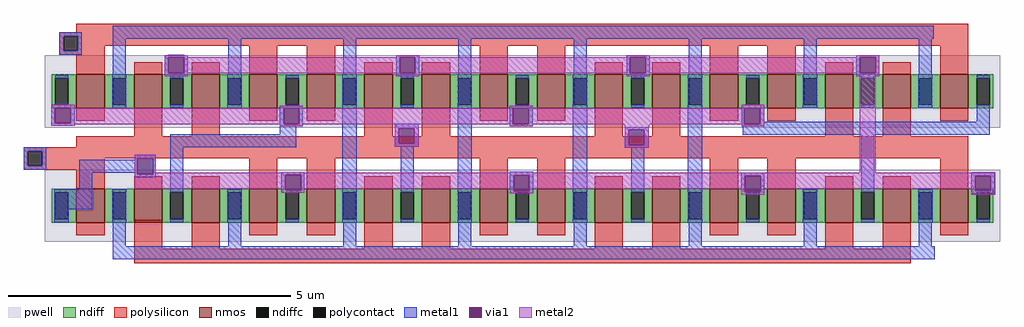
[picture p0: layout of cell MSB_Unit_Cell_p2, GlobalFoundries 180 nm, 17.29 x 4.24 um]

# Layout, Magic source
magic
tech gf180mcuC
magscale 1 10
<< pwell >>
rect 3095 69 3144 188
rect 2055 1 2142 14
rect 1647 -233 1729 -156
rect 2467 -238 2549 -161
<< ndiff >>
rect 3095 69 3144 188
<< polysilicon >>
rect 112 337 3272 367
rect 51 324 3272 337
rect 51 273 66 324
rect 117 290 3272 324
rect 117 273 212 290
rect 51 258 212 273
rect 112 188 212 258
rect 724 232 824 290
rect 928 232 1028 290
rect 1540 232 1640 290
rect 1744 232 1844 290
rect 2356 232 2456 290
rect 2560 232 2660 290
rect 3172 232 3272 290
rect 3185 205 3272 232
rect 316 26 393 68
rect 316 -31 416 24
rect 520 -31 620 24
rect 1132 -31 1232 24
rect 1336 -31 1436 24
rect 1948 -31 2048 24
rect 2152 -31 2252 24
rect 2764 -31 2864 24
rect 2968 -31 3068 24
rect 112 -70 3272 -31
rect -74 -84 3272 -70
rect -74 -135 -60 -84
rect -9 -108 3272 -84
rect -9 -135 212 -108
rect -74 -149 212 -135
rect 112 -173 212 -149
rect 724 -173 824 -108
rect 928 -173 1028 -108
rect 1540 -173 1640 -108
rect 1744 -173 1844 -108
rect 2356 -173 2456 -108
rect 2560 -173 2660 -108
rect 3172 -173 3272 -108
rect 318 -381 416 -326
rect 316 -430 416 -381
rect 520 -430 620 -381
rect 1132 -430 1232 -381
rect 1336 -430 1436 -381
rect 1948 -430 2048 -381
rect 2152 -430 2252 -381
rect 2764 -430 2864 -381
rect 2968 -430 3068 -381
rect 316 -480 3068 -430
<< polycontact >>
rect 66 273 117 324
rect -60 -135 -9 -84
<< metal1 >>
rect 51 324 130 337
rect 51 273 66 324
rect 117 273 130 324
rect 51 258 130 273
rect 241 314 3150 360
rect 241 187 287 314
rect 436 256 494 258
rect 424 249 506 256
rect 424 193 437 249
rect 493 193 506 249
rect 37 81 83 85
rect 23 71 105 81
rect 23 15 35 71
rect 91 15 105 71
rect 238 69 289 187
rect 424 181 506 193
rect 649 187 695 314
rect 1057 187 1103 314
rect 1245 249 1327 256
rect 1245 193 1257 249
rect 1313 193 1327 249
rect 646 69 697 187
rect 23 6 105 15
rect 833 68 914 78
rect 833 12 846 68
rect 902 12 914 68
rect 833 4 914 12
rect 833 -24 891 4
rect 445 -70 891 -24
rect -74 -84 5 -70
rect -74 -135 -60 -84
rect -9 -135 5 -84
rect 318 -109 392 -97
rect 318 -114 328 -109
rect -74 -149 5 -135
rect 121 -160 328 -114
rect 121 -218 167 -160
rect 318 -165 328 -160
rect 384 -165 392 -109
rect 318 -177 392 -165
rect 34 -289 167 -218
rect 34 -336 85 -289
rect 238 -336 289 -218
rect 445 -219 491 -70
rect 837 -167 919 -159
rect 646 -336 697 -218
rect 837 -223 852 -167
rect 908 -223 919 -167
rect 837 -231 919 -223
rect 1054 -336 1105 187
rect 1245 181 1327 193
rect 1465 187 1511 314
rect 1873 187 1919 314
rect 2061 249 2143 256
rect 2061 193 2073 249
rect 2129 193 2143 249
rect 1240 -2 1325 13
rect 1240 -58 1253 -2
rect 1309 -58 1325 -2
rect 1240 -68 1325 -58
rect 1261 -219 1307 -68
rect 1462 -336 1513 187
rect 1647 68 1728 78
rect 1647 12 1658 68
rect 1714 12 1728 68
rect 1647 4 1728 12
rect 1647 -169 1731 -156
rect 1647 -225 1661 -169
rect 1717 -225 1731 -169
rect 1647 -233 1731 -225
rect 1870 -336 1921 187
rect 2061 181 2143 193
rect 2281 187 2327 314
rect 2689 187 2735 314
rect 2874 249 2956 256
rect 2874 193 2887 249
rect 2943 193 2956 249
rect 2055 -7 2140 1
rect 2055 -63 2068 -7
rect 2124 -63 2140 -7
rect 2055 -71 2140 -63
rect 2077 -219 2123 -71
rect 2278 -336 2329 187
rect 2469 68 2549 80
rect 2686 69 2736 187
rect 2874 181 2956 193
rect 3097 188 3143 314
rect 3095 69 3144 188
rect 2469 12 2478 68
rect 2534 21 2549 68
rect 3301 21 3347 70
rect 2534 12 3347 21
rect 2469 4 3347 12
rect 2473 -25 3347 4
rect 2467 -171 2549 -161
rect 2467 -227 2480 -171
rect 2536 -227 2549 -171
rect 2467 -238 2549 -227
rect 2686 -336 2737 -218
rect 2893 -219 2939 -25
rect 3283 -170 3366 -161
rect 3094 -336 3145 -218
rect 3283 -224 3297 -170
rect 3351 -224 3366 -170
rect 3283 -235 3366 -224
rect 241 -420 287 -336
rect 649 -420 695 -336
rect 1057 -420 1103 -336
rect 1465 -420 1511 -336
rect 1873 -420 1919 -336
rect 2281 -420 2327 -336
rect 2689 -420 2735 -336
rect 3097 -420 3143 -336
rect 241 -466 3152 -420
<< via1 >>
rect 437 193 493 249
rect 35 15 91 71
rect 1257 193 1313 249
rect 846 12 902 68
rect 328 -165 384 -109
rect 852 -223 908 -167
rect 2073 193 2129 249
rect 1253 -58 1309 -2
rect 1658 12 1714 68
rect 1661 -225 1717 -169
rect 2887 193 2943 249
rect 2068 -63 2124 -7
rect 2478 12 2534 68
rect 2480 -227 2536 -171
rect 3297 -224 3351 -170
<< metal2 >>
rect 424 249 506 256
rect 1245 249 1327 256
rect 2061 249 2143 256
rect 2874 249 2956 256
rect 424 193 437 249
rect 493 193 1257 249
rect 1313 193 2073 249
rect 2129 193 2887 249
rect 2943 193 2956 249
rect 424 181 506 193
rect 1245 181 1327 193
rect 2061 181 2143 193
rect 2874 181 2956 193
rect 23 71 105 81
rect 23 15 35 71
rect 91 68 105 71
rect 833 68 914 78
rect 1647 68 1728 78
rect 2469 68 2549 80
rect 91 15 846 68
rect 23 12 846 15
rect 902 12 1658 68
rect 1714 12 2478 68
rect 2534 12 2549 68
rect 23 6 105 12
rect 833 4 914 12
rect 1240 -2 1325 12
rect 1647 4 1728 12
rect 1240 -58 1253 -2
rect 1309 -58 1325 -2
rect 1240 -68 1325 -58
rect 2055 1 2142 12
rect 2469 4 2549 12
rect 2055 -7 2140 1
rect 2055 -63 2068 -7
rect 2124 -63 2140 -7
rect 2055 -71 2140 -63
rect 2068 -72 2124 -71
rect 318 -109 392 -97
rect 318 -165 328 -109
rect 384 -161 392 -109
rect 837 -161 919 -159
rect 1647 -161 1731 -156
rect 2887 -161 2943 181
rect 3282 -161 3367 -158
rect 384 -165 3367 -161
rect 318 -167 3367 -165
rect 318 -177 852 -167
rect 319 -217 852 -177
rect 837 -223 852 -217
rect 908 -169 3367 -167
rect 908 -217 1661 -169
rect 908 -223 919 -217
rect 837 -231 919 -223
rect 1647 -225 1661 -217
rect 1717 -170 3367 -169
rect 1717 -171 3297 -170
rect 1717 -217 2480 -171
rect 1717 -225 1731 -217
rect 1647 -233 1731 -225
rect 2467 -227 2480 -217
rect 2536 -217 3297 -171
rect 2536 -227 2549 -217
rect 2467 -238 2549 -227
rect 3282 -224 3297 -217
rect 3351 -224 3367 -170
rect 3282 -238 3367 -224
use nmos_3p3_AGPLV7  nmos_3p3_AGPLV7_0
transform 1 0 2406 0 1 -277
box -162 -128 162 128
use nmos_3p3_AGPLV7  nmos_3p3_AGPLV7_1
transform 1 0 162 0 1 -277
box -162 -128 162 128
use nmos_3p3_AGPLV7  nmos_3p3_AGPLV7_2
transform 1 0 366 0 1 -277
box -162 -128 162 128
use nmos_3p3_AGPLV7  nmos_3p3_AGPLV7_3
transform 1 0 570 0 1 -277
box -162 -128 162 128
use nmos_3p3_AGPLV7  nmos_3p3_AGPLV7_4
transform 1 0 774 0 1 -277
box -162 -128 162 128
use nmos_3p3_AGPLV7  nmos_3p3_AGPLV7_5
transform 1 0 978 0 1 -277
box -162 -128 162 128
use nmos_3p3_AGPLV7  nmos_3p3_AGPLV7_6
transform 1 0 1182 0 1 -277
box -162 -128 162 128
use nmos_3p3_AGPLV7  nmos_3p3_AGPLV7_7
transform 1 0 1386 0 1 -277
box -162 -128 162 128
use nmos_3p3_AGPLV7  nmos_3p3_AGPLV7_8
transform 1 0 1590 0 1 -277
box -162 -128 162 128
use nmos_3p3_AGPLV7  nmos_3p3_AGPLV7_9
transform 1 0 1794 0 1 -277
box -162 -128 162 128
use nmos_3p3_AGPLV7  nmos_3p3_AGPLV7_10
transform 1 0 1998 0 1 -277
box -162 -128 162 128
use nmos_3p3_AGPLV7  nmos_3p3_AGPLV7_11
transform 1 0 2202 0 1 -277
box -162 -128 162 128
use nmos_3p3_AGPLV7  nmos_3p3_AGPLV7_12
transform 1 0 2814 0 1 -277
box -162 -128 162 128
use nmos_3p3_AGPLV7  nmos_3p3_AGPLV7_13
transform 1 0 2610 0 1 -277
box -162 -128 162 128
use nmos_3p3_AGPLV7  nmos_3p3_AGPLV7_14
transform 1 0 3018 0 1 -277
box -162 -128 162 128
use nmos_3p3_AGPLV7  nmos_3p3_AGPLV7_15
transform 1 0 3222 0 1 -277
box -162 -128 162 128
use nmos_3p3_AQEADK  nmos_3p3_AQEADK_0
transform 1 0 1998 0 1 128
box -162 -128 162 128
use nmos_3p3_AQEADK  nmos_3p3_AQEADK_1
transform 1 0 162 0 1 128
box -162 -128 162 128
use nmos_3p3_AQEADK  nmos_3p3_AQEADK_2
transform 1 0 366 0 1 128
box -162 -128 162 128
use nmos_3p3_AQEADK  nmos_3p3_AQEADK_3
transform 1 0 570 0 1 128
box -162 -128 162 128
use nmos_3p3_AQEADK  nmos_3p3_AQEADK_4
transform 1 0 774 0 1 128
box -162 -128 162 128
use nmos_3p3_AQEADK  nmos_3p3_AQEADK_5
transform 1 0 978 0 1 128
box -162 -128 162 128
use nmos_3p3_AQEADK  nmos_3p3_AQEADK_6
transform 1 0 1182 0 1 128
box -162 -128 162 128
use nmos_3p3_AQEADK  nmos_3p3_AQEADK_7
transform 1 0 1386 0 1 128
box -162 -128 162 128
use nmos_3p3_AQEADK  nmos_3p3_AQEADK_8
transform 1 0 1590 0 1 128
box -162 -128 162 128
use nmos_3p3_AQEADK  nmos_3p3_AQEADK_9
transform 1 0 1794 0 1 128
box -162 -128 162 128
use nmos_3p3_AQEADK  nmos_3p3_AQEADK_10
transform 1 0 3222 0 1 128
box -162 -128 162 128
use nmos_3p3_AQEADK  nmos_3p3_AQEADK_11
transform 1 0 2202 0 1 128
box -162 -128 162 128
use nmos_3p3_AQEADK  nmos_3p3_AQEADK_12
transform 1 0 2406 0 1 128
box -162 -128 162 128
use nmos_3p3_AQEADK  nmos_3p3_AQEADK_13
transform 1 0 2610 0 1 128
box -162 -128 162 128
use nmos_3p3_AQEADK  nmos_3p3_AQEADK_14
transform 1 0 2814 0 1 128
box -162 -128 162 128
use nmos_3p3_AQEADK  nmos_3p3_AQEADK_15
transform 1 0 3018 0 1 128
box -162 -128 162 128
<< end >>

# cell nmos_3p3_AGPLV7: kit device nmos_3p3, w 0.6 l 0.50 m 1 nf 1 diffcov 100 polycov 100 guard 0 glc 0 grc 0 gtc 0 gbc 0 tbcov 100 rlcov 100 topc 0 botc 0 poverlap 0 doverlap 1 lmin 0.28 wmin 0.22 full_metal 0 compatible {nmos_3p3 nmos_6p0 nmos_6p0_nat}

# cell nmos_3p3_AQEADK: kit device nmos_3p3, w 0.60 l 0.5 m 1 nf 1 diffcov 100 polycov 100 guard 0 glc 0 grc 0 gtc 0 gbc 0 tbcov 100 rlcov 100 topc 0 botc 0 poverlap 0 doverlap 1 lmin 0.28 wmin 0.22 full_metal 0 compatible {nmos_3p3 nmos_6p0 nmos_6p0_nat}
